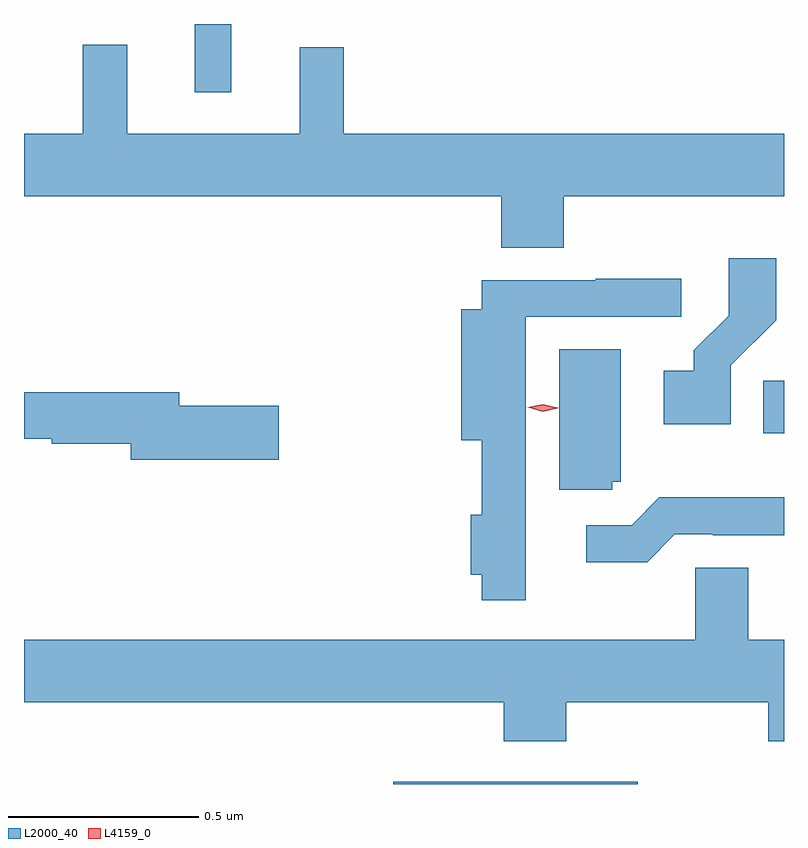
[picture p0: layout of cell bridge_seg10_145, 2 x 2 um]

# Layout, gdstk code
import gdstk
lib = gdstk.Library(unit=1e-6, precision=1e-09)
def R(c, l, rs):  # rectangles x0, y0, x1, y1
    for r in rs: c.add(gdstk.rectangle(r[:2], r[2:], *l))
def P(c, l, *ps):  # polygons
    for p in ps: c.add(gdstk.Polygon(p, *l))
L2000_40 = (2000, 40)
L4159_0 = (4159, 0)

bridge_seg10_145 = lib.new_cell('bridge_seg10_145')
R(bridge_seg10_145, L2000_40, [(334.755,1302.765,335.398,1302.771), (335.728,1303.688,335.783,1303.826), (334.232,1304.586,334.329,1304.765)])
P(bridge_seg10_145, L2000_40, [(335.204,1304.312),(335.783,1304.312),(335.783,1304.476),(334.625,1304.476),(334.625,1304.704),(334.508,1304.704),(334.508,1304.476),(334.055,1304.476),(334.055,1304.71),(333.937,1304.71),(333.937,1304.476),(333.783,1304.476),(333.783,1304.312),(335.039,1304.312),(335.039,1304.176),(335.204,1304.176)],
  [(335.643,1303.867),(335.762,1303.986),(335.762,1304.149),(335.637,1304.149),(335.637,1303.997),(335.546,1303.907),(335.546,1303.852),(335.466,1303.852),(335.466,1303.712),(335.643,1303.712)],
  [(335.104,1303.47),(335.103,1303.47),(335.103,1303.774),(335.104,1303.774),(335.104,1303.995),(335.512,1303.995),(335.512,1304.094),(335.287,1304.094),(335.287,1304.091),(334.987,1304.091),(334.987,1304.014),(334.934,1304.014),(334.934,1303.67),(334.987,1303.67),(334.987,1303.474),(334.958,1303.474),(334.958,1303.316),(334.987,1303.316),(334.987,1303.248),(335.104,1303.248)],
  [(335.331,1303.56),(335.353,1303.56),(335.353,1303.909),(335.192,1303.909),(335.192,1303.539),(335.331,1303.539)],
  [(334.453,1303.76),(334.192,1303.76),(334.192,1303.796),(333.783,1303.796),(333.783,1303.673),(333.856,1303.673),(333.856,1303.66),(334.064,1303.66),(334.064,1303.618),(334.453,1303.618)],
  [(335.496,1303.422),(335.596,1303.422),(335.596,1303.419),(335.783,1303.419),(335.783,1303.519),(335.455,1303.519),(335.382,1303.446),(335.262,1303.446),(335.262,1303.349),(335.423,1303.349)],
  [(335.21,1302.98),(335.741,1302.98),(335.741,1302.878),(335.783,1302.878),(335.783,1303.144),(335.689,1303.144),(335.689,1303.334),(335.55,1303.334),(335.55,1303.144),(333.783,1303.144),(333.783,1302.98),(335.045,1302.98),(335.045,1302.878),(335.21,1302.878)])
P(bridge_seg10_145, L4159_0, [(335.148,1303.745),(335.108,1303.756),(335.107,1303.756),(335.108,1303.756),(335.148,1303.765),(335.188,1303.755),(335.189,1303.755),(335.188,1303.754)])

lib.write_gds('bridge_seg10_145.gds')
